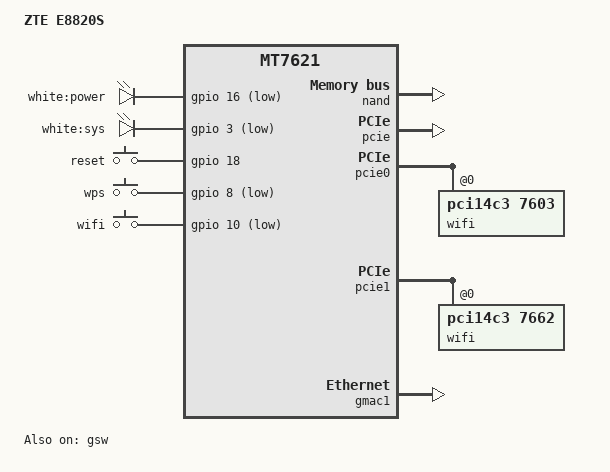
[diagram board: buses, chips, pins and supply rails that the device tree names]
// SPDX-License-Identifier: GPL-2.0-or-later OR MIT

#include "mt7621.dtsi"

#include <dt-bindings/gpio/gpio.h>
#include <dt-bindings/input/input.h>

/ {
	compatible = "zte,e8820s", "mediatek,mt7621-soc";
	model = "ZTE E8820S";

	aliases {
		led-boot = &led_power;
		led-failsafe = &led_power;
		led-running = &led_power;
		led-upgrade = &led_power;
		label-mac-device = &gmac0;
	};

	chosen {
		bootargs = "console=ttyS0,115200";
	};

	leds {
		compatible = "gpio-leds";

		led_power: power {
			label = "white:power";
			gpios = <&gpio 16 GPIO_ACTIVE_LOW>;
		};

		led_sys: sys {
			label = "white:sys";
			gpios = <&gpio 3 GPIO_ACTIVE_LOW>;
		};
	};

	keys {
		compatible = "gpio-keys";

		reset {
			label = "reset";
			gpios = <&gpio 18 GPIO_ACTIVE_HIGH>;
			linux,code = <KEY_RESTART>;
		};

		wps {
			label = "wps";
			gpios = <&gpio 8 GPIO_ACTIVE_LOW>;
			linux,code = <KEY_WPS_BUTTON>;
		};

		wifi {
			label = "wifi";
			gpios = <&gpio 10 GPIO_ACTIVE_LOW>;
			linux,code = <KEY_RFKILL>;
		};
	};
};

&nand {
	status = "okay";

	partitions {
		compatible = "fixed-partitions";
		#address-cells = <1>;
		#size-cells = <1>;

		partition@0 {
			label = "u-boot";
			reg = <0x0 0x80000>;
			read-only;
		};

		partition@80000 {
			label = "u-boot-env";
			reg = <0x80000 0x80000>;
			read-only;
		};

		factory: partition@100000 {
			label = "factory";
			reg = <0x100000 0x40000>;
			read-only;
		};

		partition@140000 {
			label = "kernel";
			reg = <0x140000 0x400000>;
		};

		partition@540000 {
			label = "ubi";
			reg = <0x540000 0x7a40000>;
		};
	};
};

&pcie {
	status = "okay";
};

&pcie0 {
	wifi@0,0 {
		compatible = "pci14c3,7603";
		reg = <0x0000 0 0 0 0>;
		mediatek,mtd-eeprom = <&factory 0x0000>;
		ieee80211-freq-limit = <2400000 2500000>;

		led {
			led-active-low;
		};
	};
};

&pcie1 {
	wifi@0,0 {
		compatible = "pci14c3,7662";
		reg = <0x0000 0 0 0 0>;
		mediatek,mtd-eeprom = <&factory 0x8000>;
		ieee80211-freq-limit = <5000000 6000000>;

		led {
			led-sources = <2>;
			led-active-low;
		};
	};
};

&gmac0 {
	mtd-mac-address = <&factory 0xe000>;
};

&gmac1 {
	mtd-mac-address = <&factory 0xe006>;
	status = "okay";
};

&gsw {
	mediatek,mdio = <&mdio>;
	mediatek,portmap = "llllw";
	status = "okay";
};

&hnat {
	mtketh-wan = "eth1";
	mtketh-ppd = "eth0";
	mtketh-lan = "eth0";
	mtketh-max-gmac = <2>;
	/delete-property/ mtkdsa-wan-port;
};

&switch0 {
	status = "disabled";
};

&state_default {
	gpio {
		groups = "i2c", "jtag", "uart2", "uart3", "wdt";
		function = "gpio";
	};
};
